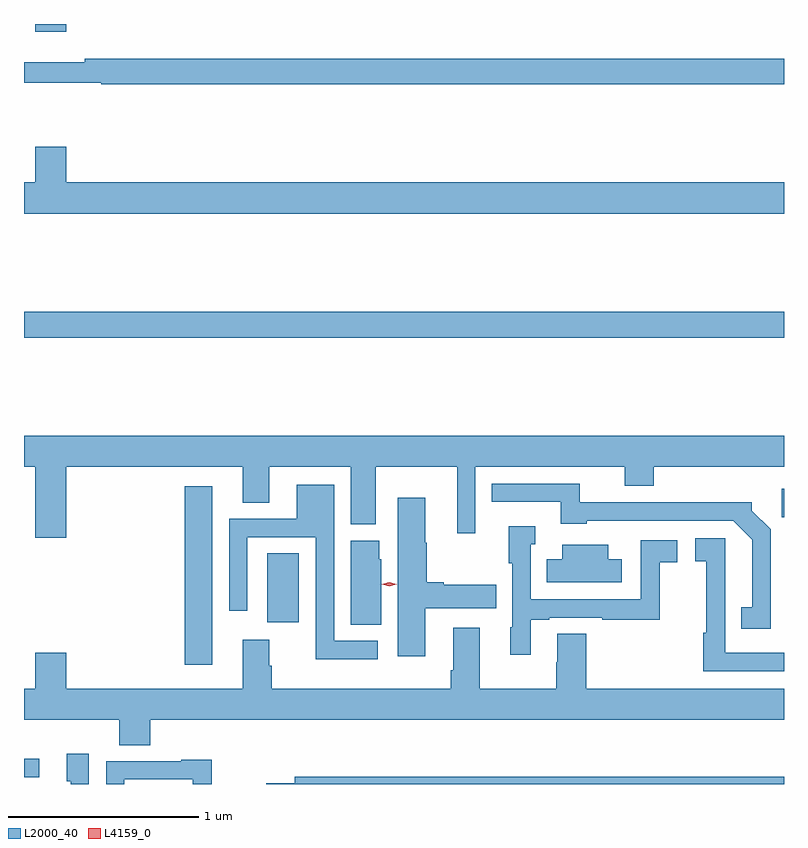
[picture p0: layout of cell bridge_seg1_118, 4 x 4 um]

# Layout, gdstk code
import gdstk
lib = gdstk.Library(unit=1e-6, precision=1e-09)
def R(c, l, rs):  # rectangles x0, y0, x1, y1
    for r in rs: c.add(gdstk.rectangle(r[:2], r[2:], *l))
def P(c, l, *ps):  # polygons
    for p in ps: c.add(gdstk.Polygon(p, *l))
L2000_40 = (2000, 40)
L4159_0 = (4159, 0)

bridge_seg1_118 = lib.new_cell('bridge_seg1_118')
R(bridge_seg1_118, L2000_40, [(272.841,504.81,272.92,504.908), (273.686,505.401,273.832,506.341), (274.121,505.626,274.288,505.988), (276.829,506.177,276.841,506.329), (272.841,507.124,276.841,507.26), (272.9,508.734,273.064,508.774)])
P(bridge_seg1_118, L2000_40, [(276.841,508.592),(273.16,508.592),(273.16,508.573),(272.841,508.573),(272.841,508.464),(273.248,508.464),(273.248,508.456),(276.841,508.456)],
  [(276.841,507.94),(273.064,507.94),(273.064,508.129),(272.9,508.129),(272.9,507.94),(272.841,507.94),(272.841,507.776),(276.841,507.776)],
  [(273.064,506.444),(273.992,506.444),(273.992,506.254),(274.132,506.254),(274.132,506.444),(274.562,506.444),(274.562,506.14),(274.693,506.14),(274.693,506.444),(275.12,506.444),(275.12,506.094),(275.217,506.094),(275.217,506.444),(276.002,506.444),(276.002,506.345),(276.155,506.345),(276.155,506.444),(276.841,506.444),(276.841,506.608),(272.841,506.608),(272.841,506.444),(272.9,506.444),(272.9,506.07),(273.064,506.07)],
  [(276.771,506.114),(276.672,506.213),(276.672,506.258),(276.238,506.258),(276.238,506.256),(275.766,506.256),(275.766,506.355),(275.302,506.355),(275.302,506.259),(275.666,506.259),(275.666,506.144),(275.802,506.144),(275.802,506.16),(276.573,506.16),(276.674,506.059),(276.674,505.703),(276.616,505.703),(276.616,505.59),(276.771,505.59)],
  [(274.702,505.527),(274.473,505.527),(274.473,506.35),(274.277,506.35),(274.277,506.169),(273.921,506.169),(273.921,505.686),(274.017,505.686),(274.017,506.073),(274.377,506.073),(274.377,505.43),(274.702,505.43)],
  [(274.954,505.7),(275.327,505.7),(275.327,505.822),(275.05,505.822),(275.05,505.835),(274.962,505.835),(274.962,506.043),(274.954,506.043),(274.954,506.281),(274.808,506.281),(274.808,505.446),(274.954,505.446)],
  [(275.509,505.638),(275.605,505.638),(275.605,505.65),(275.884,505.65),(275.884,505.638),(276.186,505.638),(276.186,505.942),(276.28,505.942),(276.28,506.058),(276.087,506.058),(276.087,505.746),(275.508,505.746),(275.508,506.037),(275.533,506.037),(275.533,506.131),(275.393,506.131),(275.393,505.937),(275.412,505.937),(275.412,505.599),(275.399,505.599),(275.399,505.455),(275.509,505.455)],
  [(276.841,505.464),(276.531,505.464),(276.531,505.792),(276.532,505.792),(276.532,506.068),(276.375,506.068),(276.375,505.947),(276.433,505.947),(276.433,505.571),(276.415,505.571),(276.415,505.368),(276.841,505.368)],
  [(274.72,505.956),(274.711,505.956),(274.711,506.055),(274.562,506.055),(274.562,505.612),(274.72,505.612)],
  [(275.986,505.957),(275.917,505.957),(275.917,506.032),(275.675,506.032),(275.675,505.957),(275.593,505.957),(275.593,505.835),(275.986,505.835)],
  [(276.841,505.276),(275.801,505.276),(275.801,505.565),(275.648,505.565),(275.648,505.415),(275.641,505.415),(275.641,505.276),(275.239,505.276),(275.239,505.597),(275.099,505.597),(275.099,505.372),(275.087,505.372),(275.087,505.276),(274.145,505.276),(274.145,505.397),(274.132,505.397),(274.132,505.534),(273.992,505.534),(273.992,505.276),(273.064,505.276),(273.064,505.465),(272.9,505.465),(272.9,505.276),(272.841,505.276),(272.841,505.112),(273.341,505.112),(273.341,504.979),(273.506,504.979),(273.506,505.112),(276.841,505.112)],
  [(273.183,504.934),(273.065,504.934),(273.065,504.789),(273.087,504.789),(273.087,504.774),(273.183,504.774)],
  [(273.369,504.798),(273.729,504.798),(273.729,504.774),(273.83,504.774),(273.83,504.901),(273.669,504.901),(273.669,504.894),(273.273,504.894),(273.273,504.774),(273.369,504.774)],
  [(276.841,504.811),(274.265,504.811),(274.265,504.777),(274.116,504.777),(274.116,504.774),(276.841,504.774)])
P(bridge_seg1_118, L4159_0, [(274.764,505.815),(274.724,505.825),(274.724,505.825),(274.724,505.825),(274.764,505.835),(274.804,505.825),(274.804,505.825),(274.804,505.825)])

lib.write_gds('bridge_seg1_118.gds')
